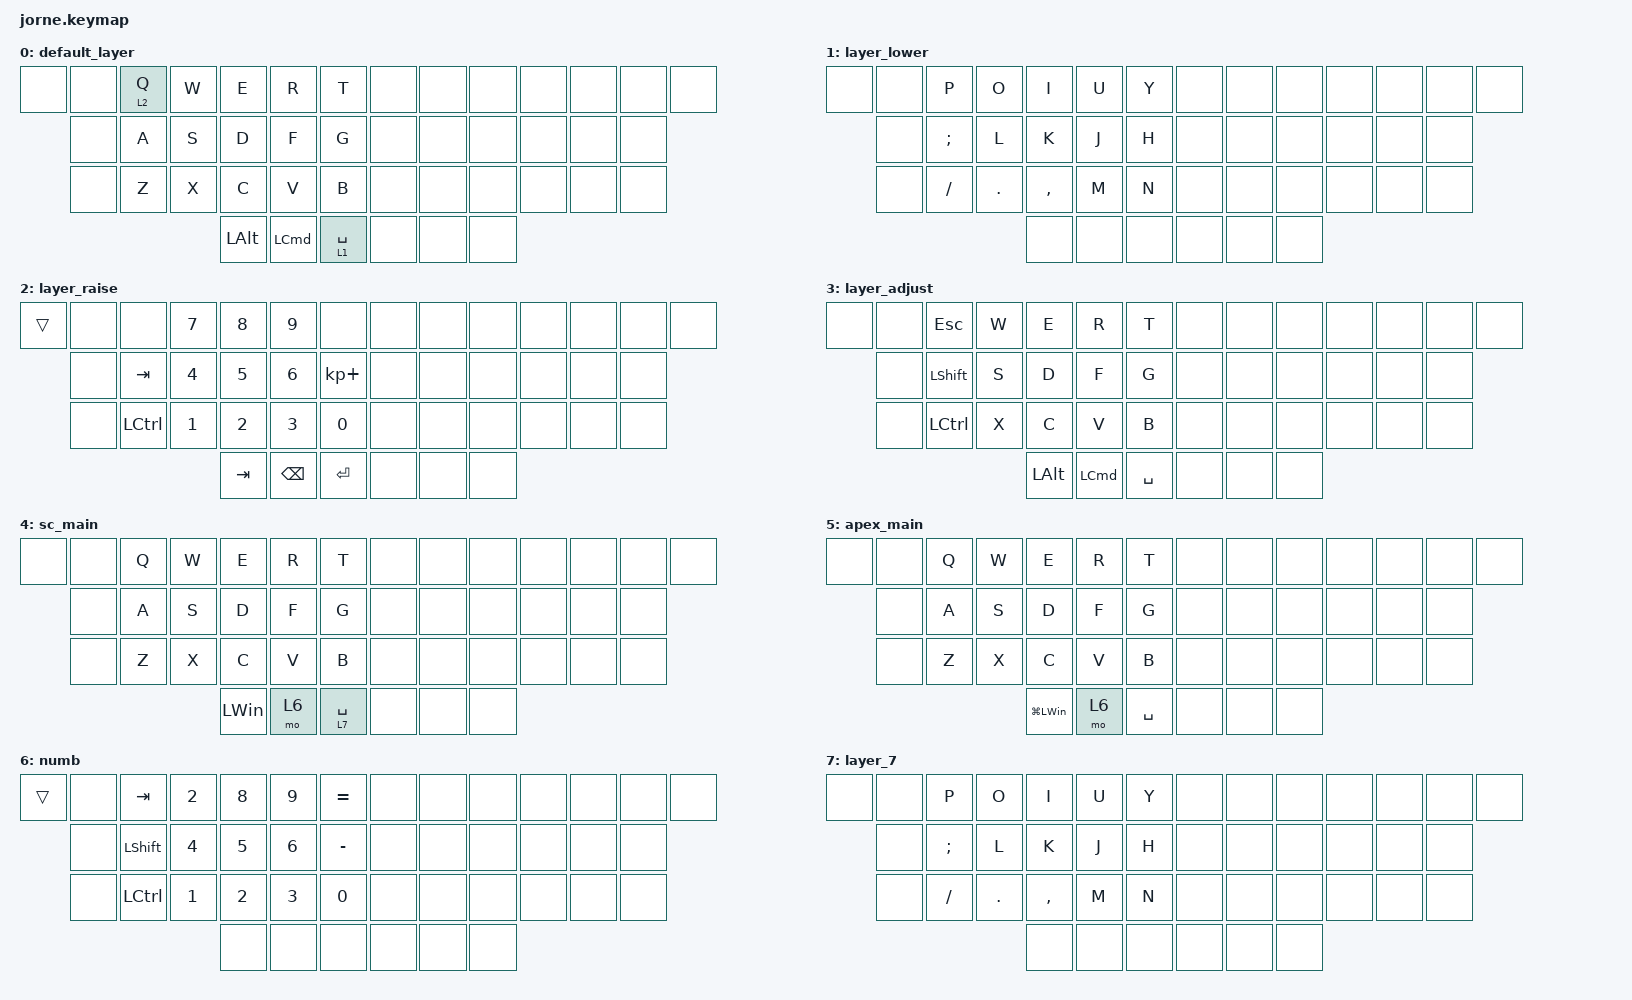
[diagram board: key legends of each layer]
/*
 * Copyright (c) 2020 The ZMK Contributors
 *
 * SPDX-License-Identifier: MIT
 */
/* THIS FILE WAS GENERATED!
 *
 * This file was generated automatically. You may or may not want to
 * edit it directly.
 */

#include <behaviors.dtsi>
#include <dt-bindings/zmk/keys.h>

/ {
    combos {
        compatible = "zmk,combos";

        esc {
            bindings = <&kp ESC>;
            key-positions = <2 3>;
        };

        default {
            bindings = <&to 0>;
            key-positions = <2 6>;
        };

        game-layer {
            bindings = <&to 3>;
            key-positions = <15 19>;
        };

        backspace {
            bindings = <&kp BACKSPACE>;
            key-positions = <5 6>;
        };

        enter {
            bindings = <&kp ENTER>;
            key-positions = <18 19>;
        };

        apex {
            bindings = <&to 5>;
            key-positions = <27 31>;
        };

        SC {
            bindings = <&to 4>;
            key-positions = <29 31>;
        };
    };

    keymap {
        compatible = "zmk,keymap";

        default_layer {
            bindings = <
&none  &none  &lt 2 Q  &kp W  &kp E         &kp R             &kp T        &none  &none  &none  &none  &none  &none  &none
       &none  &kp A    &kp S  &kp D         &kp F             &kp G        &none  &none  &none  &none  &none  &none
       &none  &kp Z    &kp X  &kp C         &kp V             &kp B        &none  &none  &none  &none  &none  &none
                              &kp LEFT_ALT  &kp LEFT_COMMAND  &lt 1 SPACE  &none  &none  &none
            >;
        };

        layer_lower {
            bindings = <
&none  &none  &kp P          &kp O       &kp I      &kp U  &kp Y  &none  &none  &none  &none  &none  &none  &none
       &none  &kp SEMICOLON  &kp L       &kp K      &kp J  &kp H  &none  &none  &none  &none  &none  &none
       &none  &kp SLASH      &kp PERIOD  &kp COMMA  &kp M  &kp N  &none  &none  &none  &none  &none  &none
                                         &none      &none  &none  &none  &none  &none
            >;
        };

        layer_raise {
            bindings = <
&trans  &none  &none             &kp N7        &kp N8        &kp N9         &none         &none  &none  &none  &none  &none  &none  &none
        &none  &kp TAB           &kp NUMBER_4  &kp N5        &kp NUMBER_6   &kp KP_PLUS   &none  &none  &none  &none  &none  &none
        &none  &kp LEFT_CONTROL  &kp NUMBER_1  &kp NUMBER_2  &kp NUMBER_3   &kp NUMBER_0  &none  &none  &none  &none  &none  &none
                                               &kp TAB       &kp BACKSPACE  &kp ENTER     &none  &none  &none
            >;
        };

        layer_adjust {
            bindings = <
&none  &none  &kp ESCAPE        &kp W  &kp E         &kp R             &kp T      &none  &none  &none  &none  &none  &none  &none
       &none  &kp LSHIFT        &kp S  &kp D         &kp F             &kp G      &none  &none  &none  &none  &none  &none
       &none  &kp LEFT_CONTROL  &kp X  &kp C         &kp V             &kp B      &none  &none  &none  &none  &none  &none
                                       &kp LEFT_ALT  &kp LEFT_COMMAND  &kp SPACE  &none  &none  &none
            >;
        };

        sc_main {
            bindings = <
&none  &none  &kp Q  &kp W  &kp E         &kp R  &kp T        &none  &none  &none  &none  &none  &none  &none
       &none  &kp A  &kp S  &kp D         &kp F  &kp G        &none  &none  &none  &none  &none  &none
       &none  &kp Z  &kp X  &kp C         &kp V  &kp B        &none  &none  &none  &none  &none  &none
                            &kp LEFT_WIN  &mo 6  &lt 7 SPACE  &none  &none  &none
            >;
        };

        apex_main {
            bindings = <
&none  &none  &kp Q  &kp W  &kp E             &kp R  &kp T      &none  &none  &none  &none  &none  &none  &none
       &none  &kp A  &kp S  &kp D             &kp F  &kp G      &none  &none  &none  &none  &none  &none
       &none  &kp Z  &kp X  &kp C             &kp V  &kp B      &none  &none  &none  &none  &none  &none
                            &kp LG(LEFT_WIN)  &mo 6  &kp SPACE  &none  &none  &none
            >;
        };

        numb {
            bindings = <
&trans  &none  &kp TAB           &kp NUMBER_2  &kp NUMBER_8  &kp NUMBER_9  &kp EQUAL     &none  &none  &none  &none  &none  &none  &none
        &none  &kp LEFT_SHIFT    &kp NUMBER_4  &kp N5        &kp NUMBER_6  &kp MINUS     &none  &none  &none  &none  &none  &none
        &none  &kp LEFT_CONTROL  &kp NUMBER_1  &kp NUMBER_2  &kp NUMBER_3  &kp NUMBER_0  &none  &none  &none  &none  &none  &none
                                               &none         &none         &none         &none  &none  &none
            >;
        };

        layer_7 {
            bindings = <
&none  &none  &kp P          &kp O       &kp I      &kp U  &kp Y  &none  &none  &none  &none  &none  &none  &none
       &none  &kp SEMICOLON  &kp L       &kp K      &kp J  &kp H  &none  &none  &none  &none  &none  &none
       &none  &kp SLASH      &kp PERIOD  &kp COMMA  &kp M  &kp N  &none  &none  &none  &none  &none  &none
                                         &none      &none  &none  &none  &none  &none
            >;
        };
    };
};
